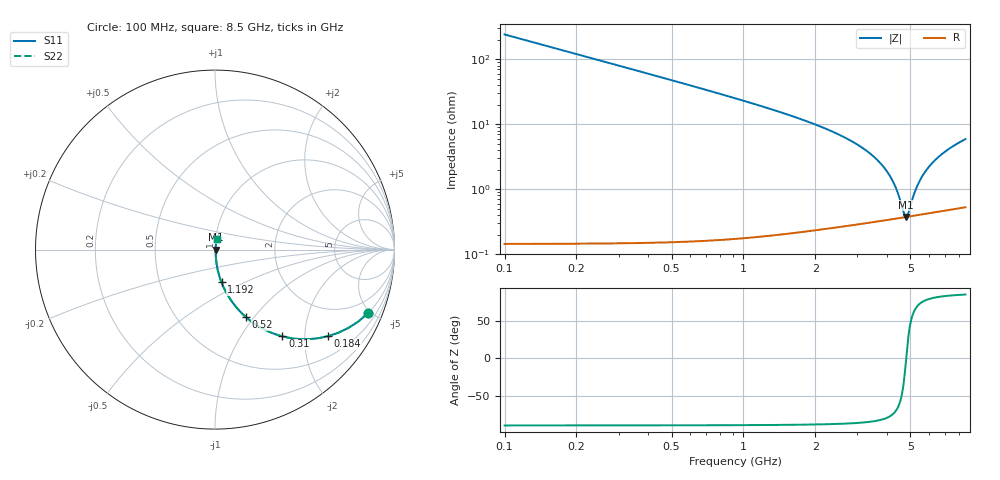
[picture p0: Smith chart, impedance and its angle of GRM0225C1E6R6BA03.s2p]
!Murata Part Number: GRM0225C1E6R6BA03
!These Parameters are Measured in Series Mode Connection
!Data Generated on Mar 30, 2021
!  o--ll--o
!Port1  Port2
!  o------o
!Operation Temp=25[degC], DC Bias Voltage=0[V]
!Freq. Start=100[MHz] Stop=9[GHz] 401[Steps]
# Hz S RI R 50
!Freq.(Hz) S11(Real) S11(Imag) S21(Real) S21(Imag) S12(Real) S12(Imag) S22(Real) S22(Imag)
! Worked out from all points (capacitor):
!   401 points, 100 MHz to 8.5 GHz, reference 50 ohm
!   read as one part in series: C = 6.6 pF near 142 MHz
!   lowest |Z| = 373 mohm at 4.804 GHz (marker M1)
!   series resonance near 4.804 GHz, so ESL is about 170 pH
!   S11 on the Smith chart (normalised r, x): 100 MHz: 1.00, -4.82; 184 MHz: 1.00, -2.62; 310 MHz: 1.00, -1.55; 520 MHz: 1.00, -0.92; 1.192 GHz: 1.00, -0.38; 8.5 GHz: 1.01, +0.12
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1e8  0.853 -0.3538  0.147 0.3538  0.147 0.3538  0.853 -0.3538
1.84e8  0.6312 -0.4819  0.3688 0.4819  0.3688 0.4819  0.6312 -0.4819
3.1e8  0.3751 -0.4832  0.6249 0.4832  0.6249 0.4832  0.3751 -0.4832
4.15e8  0.25 -0.4317  0.75 0.4317  0.75 0.4317  0.25 -0.4317
5.2e8  0.1742 -0.3776  0.8258 0.3776  0.8258 0.3776  0.1742 -0.3776
7.72e8  0.0858 -0.2773  0.9142 0.2773  0.9142 0.2773  0.0858 -0.2773
1.192e9  0.0362 -0.1821  0.9638 0.1821  0.9638 0.1821  0.0362 -0.1821
1.507e9  0.0221 -0.1402  0.9779 0.1402  0.9779 0.1402  0.0221 -0.1402
2.914e9  0.00546 -0.0513  0.9945 0.0513  0.9945 0.0513  0.00546 -0.0513
3.754e9  0.00382 -0.0245  0.9962 0.0245  0.9962 0.0245  0.00382 -0.0245
4.048e9  0.00365 -0.0169  0.9964 0.0169  0.9964 0.0169  0.00365 -0.0169
4.3e9  0.0036 -0.0109  0.9964 0.0109  0.9964 0.0109  0.0036 -0.0109
4.468e9  0.00361 -0.00712  0.9964 0.00712  0.9964 0.00712  0.00361 -0.00712
4.699e9  0.00367 -0.00216  0.9963 0.00216  0.9963 0.00216  0.00367 -0.00216
4.804e9  0.00371 2e-07  0.9963 -2e-07  0.9963 -2e-07  0.00371 2e-07
4.888e9  0.00375 0.0017  0.9962 -0.0017  0.9962 -0.0017  0.00375 0.0017
5.119e9  0.0039 0.00621  0.9961 -0.00621  0.9961 -0.00621  0.0039 0.00621
5.287e9  0.00402 0.00937  0.996 -0.00937  0.996 -0.00937  0.00402 0.00937
5.707e9  0.00441 0.0169  0.9956 -0.0169  0.9956 -0.0169  0.00441 0.0169
6.295e9  0.00509 0.0266  0.9949 -0.0266  0.9949 -0.0266  0.00509 0.0266
7.114e9  0.00624 0.039  0.9938 -0.039  0.9938 -0.039  0.00624 0.039
8.5e9  0.00861 0.0578  0.9914 -0.0578  0.9914 -0.0578  0.00861 0.0578
